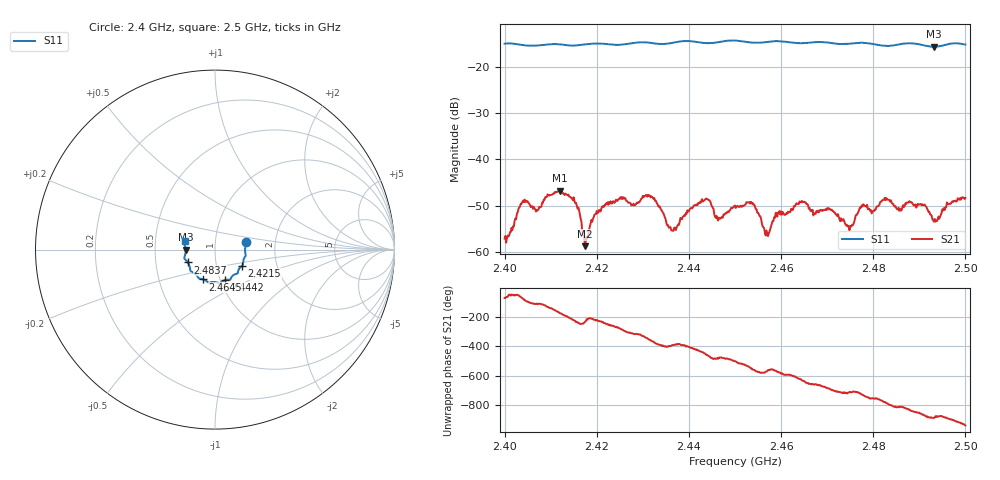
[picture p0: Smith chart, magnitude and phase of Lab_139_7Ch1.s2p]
# Hz S RI R 50
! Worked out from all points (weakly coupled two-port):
!   601 points, 2.4 GHz to 2.5 GHz, reference 50 ohm
!   highest |S21| = -46.79 dB at 2.412 GHz (marker M1); lowest = -58.8 dB at 2.4175 GHz (marker M2)
!   lowest |S11| = -15.7 dB at 2.4932 GHz (marker M3), VSWR 1.39, Z = 36 - j0.0568 ohm
!   |S11| at or under -10 dB: start of sweep to end of sweep
!   S12 and S22 are empty: the file has one direction only
!   S11 on the Smith chart (normalised r, x): 2.4 GHz: 1.41, +0.12; 2.4215 GHz: 1.33, -0.25; 2.4442 GHz: 1.05, -0.37; 2.4645 GHz: 0.83, -0.29; 2.4837 GHz: 0.73, -0.11; 2.5 GHz: 0.71, +0.07
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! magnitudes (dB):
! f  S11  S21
! 2.4 GHz  -15.1  -57.1
! 2.404 GHz  -15.4  -48.9
! 2.412 GHz  -15.2  -46.8
! 2.4152 GHz  -15.5  -49.1
! 2.4167 GHz  -15.3  -53.5
! 2.4175 GHz  -15.2  -58.8
! 2.4215 GHz  -15.1  -50.3
! 2.4333 GHz  -15.1  -50.1
! 2.4367 GHz  -14.8  -55.4
! 2.4442 GHz  -15.0  -48.7
! 2.4463 GHz  -14.7  -53.2
! 2.45 GHz  -14.4  -50.0
! 2.4537 GHz  -14.8  -49.6
! 2.457 GHz  -14.7  -55.9
! 2.4645 GHz  -15.0  -49.0
! 2.4667 GHz  -14.8  -51.2
! 2.475 GHz  -15.1  -54.4
! 2.4775 GHz  -14.9  -50.0
! 2.4833 GHz  -15.6  -48.7
! 2.4837 GHz  -15.5  -49.1
! 2.4932 GHz  -15.7  -53.5
! 2.5 GHz  -15.2  -48.4
